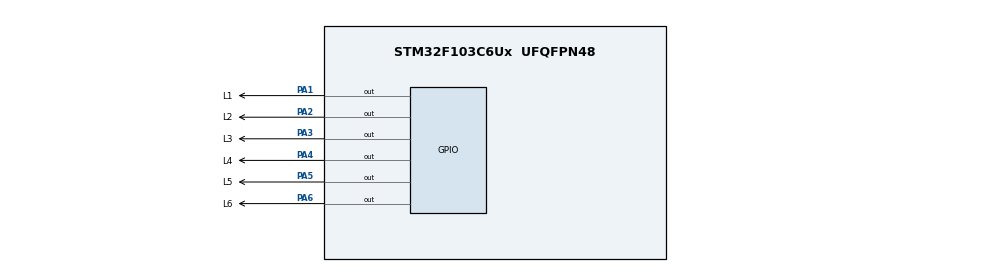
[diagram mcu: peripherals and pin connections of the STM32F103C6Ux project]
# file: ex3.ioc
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Mcu.Family=STM32F1
Mcu.Name=STM32F103C6Ux
Mcu.Package=UFQFPN48
NVIC.PriorityGroup=NVIC_PRIORITYGROUP_4
PA1.GPIO_Label=L1
PA1.Signal=GPIO_Output
PA2.GPIO_Label=L2
PA2.Signal=GPIO_Output
PA3.GPIO_Label=L3
PA3.Signal=GPIO_Output
PA4.GPIO_Label=L4
PA4.Signal=GPIO_Output
PA5.GPIO_Label=L5
PA5.Signal=GPIO_Output
PA6.GPIO_Label=L6
PA6.Signal=GPIO_Output
ProjectManager.HeapSize=0x200
ProjectManager.StackSize=0x400
ProjectManager.TargetToolchain=STM32CubeIDE
RCC.APB1Freq_Value=8000000
RCC.APB2Freq_Value=8000000
VP_SYS_VS_ND.Mode=No_Debug
board=custom

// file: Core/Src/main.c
/* USER CODE BEGIN Header */
/**
  ******************************************************************************
  * @file           : main.c
  * @brief          : Main program body
  ******************************************************************************
  * @attention
  *
  * <h2><center>&copy; Copyright (c) 2025 STMicroelectronics.
  * All rights reserved.</center></h2>
  *
  * This software component is licensed by ST under BSD 3-Clause license,
  * the "License"; You may not use this file except in compliance with the
  * License. You may obtain a copy of the License at:
  *                        opensource.org/licenses/BSD-3-Clause
  *
  ******************************************************************************
  */
/* USER CODE END Header */
#include "main.h"

void SystemClock_Config(void);
static void MX_GPIO_Init(void);

int main(void)
{

  /* MCU Configuration--------------------------------------------------------*/

  /* Reset of all peripherals, Initializes the Flash interface and the Systick. */
  HAL_Init();

  /* Configure the system clock */
  SystemClock_Config();

  /* Initialize all configured peripherals */
  MX_GPIO_Init();

  /* Infinite loop */
  /* USER CODE BEGIN WHILE */
  int n = 0;
  while (1)
  {
      // RED1 ON, GREEN2 ON (3s)
      if(n < 3){
          // Cột 1: đỏ
          HAL_GPIO_WritePin(GPIOA, GPIO_PIN_1, RESET);
          HAL_GPIO_WritePin(GPIOA, GPIO_PIN_2, SET);
          HAL_GPIO_WritePin(GPIOA, GPIO_PIN_3, SET);

          // Cột 2: xanh
          HAL_GPIO_WritePin(GPIOA, GPIO_PIN_4, SET);
          HAL_GPIO_WritePin(GPIOA, GPIO_PIN_5, SET);
          HAL_GPIO_WritePin(GPIOA, GPIO_PIN_6, RESET);
      }
      // RED1 ON, YELLOW2 ON (2s)
      else if(n < 5){
          // Cột 1: đỏ
          HAL_GPIO_WritePin(GPIOA, GPIO_PIN_1, RESET);
          HAL_GPIO_WritePin(GPIOA, GPIO_PIN_2, SET);
          HAL_GPIO_WritePin(GPIOA, GPIO_PIN_3, SET);

          // Cột 2: vàng
          HAL_GPIO_WritePin(GPIOA, GPIO_PIN_4, SET);
          HAL_GPIO_WritePin(GPIOA, GPIO_PIN_5, RESET);
          HAL_GPIO_WritePin(GPIOA, GPIO_PIN_6, SET);
      }
      // GREEN1 ON, RED2 ON (3s)
      else if(n < 8){
          // Cột 1: xanh
          HAL_GPIO_WritePin(GPIOA, GPIO_PIN_1, SET);
          HAL_GPIO_WritePin(GPIOA, GPIO_PIN_2, SET);
          HAL_GPIO_WritePin(GPIOA, GPIO_PIN_3, RESET);

          // Cột 2: đỏ
          HAL_GPIO_WritePin(GPIOA, GPIO_PIN_4, RESET);
          HAL_GPIO_WritePin(GPIOA, GPIO_PIN_5, SET);
          HAL_GPIO_WritePin(GPIOA, GPIO_PIN_6, SET);
      }
      // YELLOW1 ON, RED2 ON (2s)
      else if(n < 10){
          // Cột 1: vàng
          HAL_GPIO_WritePin(GPIOA, GPIO_PIN_1, SET);
          HAL_GPIO_WritePin(GPIOA, GPIO_PIN_2, RESET);
          HAL_GPIO_WritePin(GPIOA, GPIO_PIN_3, SET);

          // Cột 2: đỏ
          HAL_GPIO_WritePin(GPIOA, GPIO_PIN_4, RESET);
          HAL_GPIO_WritePin(GPIOA, GPIO_PIN_5, SET);
          HAL_GPIO_WritePin(GPIOA, GPIO_PIN_6, SET);
      }
      if(n == 10) n = 0;   // Reset chu kỳ sau 10 giây
      HAL_Delay(1000);     // Mỗi vòng lặp = 1 giây
      n++;

    /* USER CODE END WHILE */

  }
}

void SystemClock_Config(void)
{
  RCC_OscInitTypeDef RCC_OscInitStruct = {0};
  RCC_ClkInitTypeDef RCC_ClkInitStruct = {0};

  /** Initializes the RCC Oscillators according to the specified parameters
  * in the RCC_OscInitTypeDef structure.
  */
  RCC_OscInitStruct.OscillatorType = RCC_OSCILLATORTYPE_HSI;
  RCC_OscInitStruct.HSIState = RCC_HSI_ON;
  RCC_OscInitStruct.HSICalibrationValue = RCC_HSICALIBRATION_DEFAULT;
  RCC_OscInitStruct.PLL.PLLState = RCC_PLL_NONE;
  if (HAL_RCC_OscConfig(&RCC_OscInitStruct) != HAL_OK)
  {
    Error_Handler();
  }
  /** Initializes the CPU, AHB and APB buses clocks
  */
  RCC_ClkInitStruct.ClockType = RCC_CLOCKTYPE_HCLK|RCC_CLOCKTYPE_SYSCLK
                              |RCC_CLOCKTYPE_PCLK1|RCC_CLOCKTYPE_PCLK2;
  RCC_ClkInitStruct.SYSCLKSource = RCC_SYSCLKSOURCE_HSI;
  RCC_ClkInitStruct.AHBCLKDivider = RCC_SYSCLK_DIV1;
  RCC_ClkInitStruct.APB1CLKDivider = RCC_HCLK_DIV1;
  RCC_ClkInitStruct.APB2CLKDivider = RCC_HCLK_DIV1;

  if (HAL_RCC_ClockConfig(&RCC_ClkInitStruct, FLASH_LATENCY_0) != HAL_OK)
  {
    Error_Handler();
  }
}

static void MX_GPIO_Init(void)
{
  GPIO_InitTypeDef GPIO_InitStruct = {0};

  /* GPIO Ports Clock Enable */
  __HAL_RCC_GPIOA_CLK_ENABLE();

  /*Configure GPIO pin Output Level */
  HAL_GPIO_WritePin(GPIOA, L1_Pin|L2_Pin|L3_Pin|L4_Pin
                          |L5_Pin|L6_Pin, GPIO_PIN_RESET);

  /*Configure GPIO pins : L1_Pin L2_Pin L3_Pin L4_Pin
                           L5_Pin L6_Pin */
  GPIO_InitStruct.Pin = L1_Pin|L2_Pin|L3_Pin|L4_Pin
                          |L5_Pin|L6_Pin;
  GPIO_InitStruct.Mode = GPIO_MODE_OUTPUT_PP;
  GPIO_InitStruct.Pull = GPIO_NOPULL;
  GPIO_InitStruct.Speed = GPIO_SPEED_FREQ_LOW;
  HAL_GPIO_Init(GPIOA, &GPIO_InitStruct);

}

void Error_Handler(void)
{
  __disable_irq();
  while (1)
  {
  }
}

/************************ (C) COPYRIGHT STMicroelectronics *****END OF FILE****/
